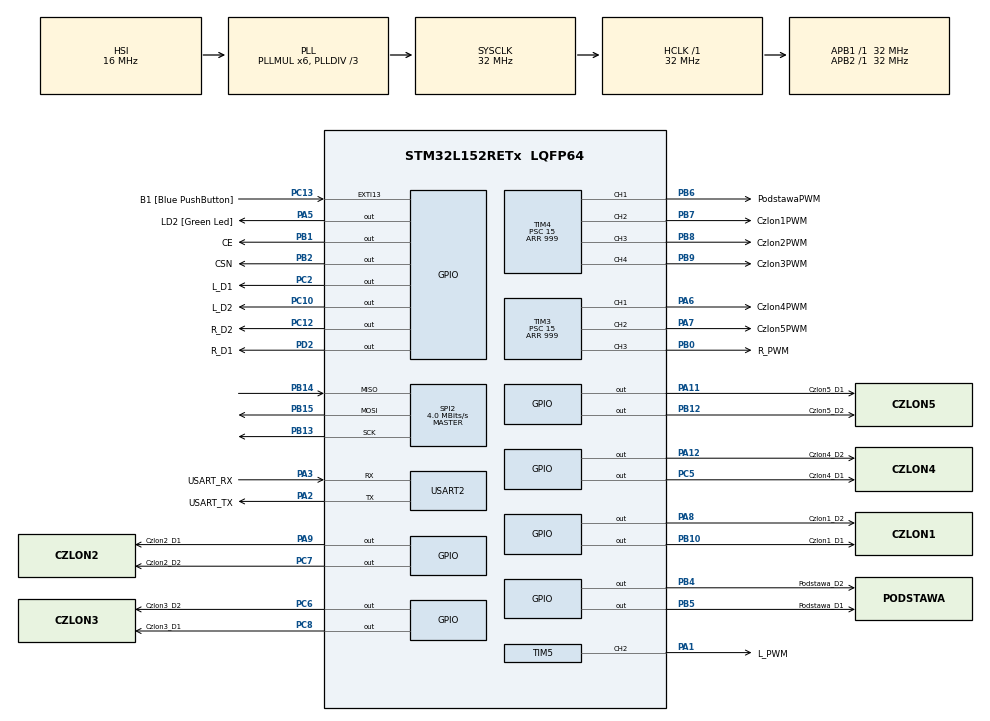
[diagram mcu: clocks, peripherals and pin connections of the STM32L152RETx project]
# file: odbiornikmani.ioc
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Mcu.Family=STM32L1
Mcu.Name=STM32L152RETx
Mcu.Package=LQFP64
NVIC.PriorityGroup=NVIC_PRIORITYGROUP_0
PA1.GPIO_Label=L_PWM
PA1.Signal=S_TIM5_CH2
PA11.GPIO_Label=Czlon5_D1
PA11.Signal=GPIO_Output
PA12.GPIO_Label=Czlon4_D2
PA12.Signal=GPIO_Output
PA13.GPIO_Label=TMS
PA13.Mode=Serial_Wire
PA13.Signal=SYS_JTMS-SWDIO
PA14.GPIO_Label=TCK
PA14.Mode=Serial_Wire
PA14.Signal=SYS_JTCK-SWCLK
PA2.GPIO_Label=USART_TX
PA2.Mode=Asynchronous
PA2.Signal=USART2_TX
PA3.GPIO_Label=USART_RX
PA3.Mode=Asynchronous
PA3.Signal=USART2_RX
PA5.GPIO_Label=LD2 [Green Led]
PA5.Signal=GPIO_Output
PA6.GPIO_Label=Czlon4PWM
PA6.Signal=S_TIM3_CH1
PA7.GPIO_Label=Czlon5PWM
PA7.Signal=S_TIM3_CH2
PA8.GPIO_Label=Czlon1_D2
PA8.Signal=GPIO_Output
PA9.GPIO_Label=Czlon2_D1
PA9.Signal=GPIO_Output
PB0.GPIO_Label=R_PWM
PB0.Signal=S_TIM3_CH3
PB1.GPIO_Label=CE
PB1.Signal=GPIO_Output
PB10.GPIO_Label=Czlon1_D1
PB10.Signal=GPIO_Output
PB12.GPIO_Label=Czlon5_D2
PB12.Signal=GPIO_Output
PB13.Mode=Full_Duplex_Master
PB13.Signal=SPI2_SCK
PB14.Mode=Full_Duplex_Master
PB14.Signal=SPI2_MISO
PB15.Mode=Full_Duplex_Master
PB15.Signal=SPI2_MOSI
PB2.GPIO_Label=CSN
PB2.Signal=GPIO_Output
PB3.GPIO_Label=SWO
PB3.Signal=SYS_JTDO-TRACESWO
PB4.GPIO_Label=Podstawa_D2
PB4.Signal=GPIO_Output
PB5.GPIO_Label=Podstawa_D1
PB5.Signal=GPIO_Output
PB6.GPIO_Label=PodstawaPWM
PB6.Signal=S_TIM4_CH1
PB7.GPIO_Label=Czlon1PWM
PB7.Signal=S_TIM4_CH2
PB8.GPIO_Label=Czlon2PWM
PB8.Signal=S_TIM4_CH3
PB9.GPIO_Label=Czlon3PWM
PB9.Signal=S_TIM4_CH4
PC10.GPIO_Label=L_D2
PC10.Signal=GPIO_Output
PC12.GPIO_Label=R_D2
PC12.Signal=GPIO_Output
PC13-WKUP2.GPIO_Label=B1 [Blue PushButton]
PC13-WKUP2.Signal=GPXTI13
PC14-OSC32_IN.Mode=LSE-External-Oscillator
PC14-OSC32_IN.Signal=RCC_OSC32_IN
PC15-OSC32_OUT.Mode=LSE-External-Oscillator
PC15-OSC32_OUT.Signal=RCC_OSC32_OUT
PC2.GPIO_Label=L_D1
PC2.Signal=GPIO_Output
PC5.GPIO_Label=Czlon4_D1
PC5.Signal=GPIO_Output
PC6.GPIO_Label=Czlon3_D2
PC6.Signal=GPIO_Output
PC7.GPIO_Label=Czlon2_D2
PC7.Signal=GPIO_Output
PC8.GPIO_Label=Czlon3_D1
PC8.Signal=GPIO_Output
PD2.GPIO_Label=R_D1
PD2.Signal=GPIO_Output
PH0-OSC_IN.Mode=HSE-External-Clock-Source
PH0-OSC_IN.Signal=RCC_OSC_IN
PH1-OSC_OUT.Signal=RCC_OSC_OUT
ProjectManager.HeapSize=0x200
ProjectManager.StackSize=0x400
ProjectManager.TargetToolchain=STM32CubeIDE
RCC.48MHZClocksFreq_Value=48000000
RCC.AHBFreq_Value=32000000
RCC.APB1Freq_Value=32000000
RCC.APB1TimFreq_Value=32000000
RCC.APB2Freq_Value=32000000
RCC.APB2TimFreq_Value=32000000
RCC.HCLKFreq_Value=32000000
RCC.HSE_VALUE=8000000
RCC.HSI_VALUE=16000000
RCC.MSI_VALUE=2097000
RCC.PLLDIV=RCC_PLL_DIV3
RCC.PLLMUL=RCC_PLL_MUL6
RCC.RTCClockSelectionVirtual=RCC_RTCCLKSOURCE_LSE
RCC.SYSCLKFreq_VALUE=32000000
RCC.SYSCLKSource=RCC_SYSCLKSOURCE_PLLCLK
RCC.USBOutput=48000000
RCC.VCOOutputFreq_Value=96000000
SH.S_TIM3_CH1.0=TIM3_CH1,PWM Generation1 CH1
SH.S_TIM3_CH2.0=TIM3_CH2,PWM Generation2 CH2
SH.S_TIM3_CH3.0=TIM3_CH3,PWM Generation3 CH3
SH.S_TIM4_CH1.0=TIM4_CH1,PWM Generation1 CH1
SH.S_TIM4_CH2.0=TIM4_CH2,PWM Generation2 CH2
SH.S_TIM4_CH3.0=TIM4_CH3,PWM Generation3 CH3
SH.S_TIM4_CH4.0=TIM4_CH4,PWM Generation4 CH4
SH.S_TIM5_CH2.0=TIM5_CH2,PWM Generation2 CH2
SPI2.BaudRatePrescaler=SPI_BAUDRATEPRESCALER_8
SPI2.CalculateBaudRate=4.0 MBits/s
SPI2.Direction=SPI_DIRECTION_2LINES
SPI2.Mode=SPI_MODE_MASTER
SPI2.VirtualType=VM_MASTER
TIM3.Channel-PWM\ Generation1\ CH1=TIM_CHANNEL_1
TIM3.Channel-PWM\ Generation2\ CH2=TIM_CHANNEL_2
TIM3.Channel-PWM\ Generation3\ CH3=TIM_CHANNEL_3
TIM3.OCPolarity_3=TIM_OCPOLARITY_HIGH
TIM3.Period=999
TIM3.Prescaler=15
TIM4.Channel-PWM\ Generation1\ CH1=TIM_CHANNEL_1
TIM4.Channel-PWM\ Generation2\ CH2=TIM_CHANNEL_2
TIM4.Channel-PWM\ Generation3\ CH3=TIM_CHANNEL_3
TIM4.Channel-PWM\ Generation4\ CH4=TIM_CHANNEL_4
TIM4.OC3Preload_PWM=ENABLE
TIM4.Period=999
TIM4.Prescaler=15
TIM5.Channel-PWM\ Generation2\ CH2=TIM_CHANNEL_2
TIM5.Period=999
TIM5.Prescaler=15
USART2.VirtualMode=VM_ASYNC
VP_TIM4_VS_ClockSourceINT.Mode=Internal
VP_TIM5_VS_ClockSourceINT.Mode=Internal
board=NUCLEO-L152RE

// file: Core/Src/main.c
/* USER CODE BEGIN Header */
/**
  ******************************************************************************
  * @file           : main.c
  * @brief          : Main program body
  ******************************************************************************
  * @attention
  *
  * Copyright (c) 2023 STMicroelectronics.
  * All rights reserved.
  *
  * This software is licensed under terms that can be found in the LICENSE file
  * in the root directory of this software component.
  * If no LICENSE file comes with this software, it is provided AS-IS.
  *
  ******************************************************************************
  */
/* USER CODE END Header */
#include "main.h"
#include "spi.h"
#include "tim.h"
#include "usart.h"
#include "gpio.h"

/* USER CODE BEGIN Includes */
#include "nRF24_Defs.h"
#include "nRF24.h"
#include "string.h"
/* USER CODE END Includes */

/* USER CODE BEGIN PV */
uint8_t nrfdata[6];
uint16_t lpwm = 0;
uint16_t rpwm = 0;
uint16_t pwm1 = 0;
uint16_t pwm2 = 0;
uint16_t steringpwm = 0;
uint16_t lowvalue = 450;
uint16_t higvalue = 550;
uint32_t time;
uint32_t timereset;
/* USER CODE END PV */

void SystemClock_Config(void);

int main(void)
{

  /* MCU Configuration--------------------------------------------------------*/

  /* Reset of all peripherals, Initializes the Flash interface and the Systick. */
  HAL_Init();

  /* USER CODE BEGIN Init */
  void triggercontrol();
  void PWMval(uint8_t ch, uint16_t val);
  void joytrigcontrol();
  void joystickcontrol();
  /* USER CODE END Init */

  /* Configure the system clock */
  SystemClock_Config();

  /* Initialize all configured peripherals */
  MX_GPIO_Init();
  MX_USART2_UART_Init();
  MX_SPI2_Init();
  MX_TIM3_Init();
  MX_TIM4_Init();
  MX_TIM5_Init();
  /* USER CODE BEGIN 2 */

  //nRF initialize and settings

  nRF24_Init(&hspi1);
  nRF24_SetRXAddress(0, "Odb");
  nRF24_SetTXAddress("Nad");
  nRF24_RX_Mode();

  //Set timer 2 to PWM function

  HAL_TIM_PWM_Start(&htim2, TIM_CHANNEL_2);
  HAL_TIM_PWM_Start(&htim2, TIM_CHANNEL_3);
  time = HAL_GetTick();
  timereset = HAL_GetTick();

  /* USER CODE END 2 */

  /* Infinite loop */
  /* USER CODE BEGIN WHILE */
  while (1)
  {

	  //Check if there is receive message

	  if(nRF24_RXAvailible())
	  	  	  {
		  	  //if working blink diode once per second
		  	  	 if (HAL_GetTick()-time >1000)
		  	  	 {
		  	  		HAL_GPIO_TogglePin(LED1_GPIO_Port, LED1_Pin);
		  	  		time = HAL_GetTick();
		  	  	 }
		  	  	 //read received data and save to nrfdata variable
	  	  		 nRF24_ReadRXPaylaod(nrfdata);
	  	  		 timereset = HAL_GetTick();
	  	  	  }
	  //if there is no signal restart nRF24 and stop motor
	  if(HAL_GetTick()-timereset > 1000)
	  {
		  nRF24_Init(&hspi1);
		  nRF24_SetRXAddress(0, "Odb");
		  nRF24_SetTXAddress("Nad");
		  nRF24_RX_Mode();
		  HAL_GPIO_WritePin(DIR_ML1_GPIO_Port, DIR_ML1_Pin, GPIO_PIN_RESET);
		  HAL_GPIO_WritePin(DIR_MR1_GPIO_Port, DIR_MR1_Pin, GPIO_PIN_RESET);
		  PWMval(1, 0);
		  PWMval(2, 0);

	  }
	  	  /*
	  if(nRF24_RXAvailible())
	  	  {
	  		  nRF24_ReadRXPaylaod(Nrf24_Message);
	  		  HAL_GPIO_TogglePin(LED1_GPIO_Port, LED1_Pin);
	  		  //MessageLength = sprintf(Message, "%c\n\r", Nrf24_Message[0]);
	  		  //HAL_UART_Transmit(&huart2, Message, MessageLength, 1000);
	  	  }
	  	  */
    /* USER CODE END WHILE */

  }
}

void SystemClock_Config(void)
{
  RCC_OscInitTypeDef RCC_OscInitStruct = {0};
  RCC_ClkInitTypeDef RCC_ClkInitStruct = {0};

  /** Configure the main internal regulator output voltage
  */
  __HAL_PWR_VOLTAGESCALING_CONFIG(PWR_REGULATOR_VOLTAGE_SCALE1);

  /** Initializes the RCC Oscillators according to the specified parameters
  * in the RCC_OscInitTypeDef structure.
  */
  RCC_OscInitStruct.OscillatorType = RCC_OSCILLATORTYPE_HSI;
  RCC_OscInitStruct.HSIState = RCC_HSI_ON;
  RCC_OscInitStruct.HSICalibrationValue = RCC_HSICALIBRATION_DEFAULT;
  RCC_OscInitStruct.PLL.PLLState = RCC_PLL_ON;
  RCC_OscInitStruct.PLL.PLLSource = RCC_PLLSOURCE_HSI;
  RCC_OscInitStruct.PLL.PLLMUL = RCC_PLL_MUL6;
  RCC_OscInitStruct.PLL.PLLDIV = RCC_PLL_DIV3;
  if (HAL_RCC_OscConfig(&RCC_OscInitStruct) != HAL_OK)
  {
    Error_Handler();
  }

  /** Initializes the CPU, AHB and APB buses clocks
  */
  RCC_ClkInitStruct.ClockType = RCC_CLOCKTYPE_HCLK|RCC_CLOCKTYPE_SYSCLK
                              |RCC_CLOCKTYPE_PCLK1|RCC_CLOCKTYPE_PCLK2;
  RCC_ClkInitStruct.SYSCLKSource = RCC_SYSCLKSOURCE_PLLCLK;
  RCC_ClkInitStruct.AHBCLKDivider = RCC_SYSCLK_DIV1;
  RCC_ClkInitStruct.APB1CLKDivider = RCC_HCLK_DIV1;
  RCC_ClkInitStruct.APB2CLKDivider = RCC_HCLK_DIV1;

  if (HAL_RCC_ClockConfig(&RCC_ClkInitStruct, FLASH_LATENCY_1) != HAL_OK)
  {
    Error_Handler();
  }
}

/* USER CODE BEGIN 4 */

uint16_t map(uint16_t input_value, uint16_t minRange, uint16_t maxRange, uint16_t New_minRange, uint16_t New_maxRange)
{
	return (((input_value - minRange)*(New_maxRange - New_minRange))/(maxRange - minRange) + New_minRange);
}
void PWMval(uint8_t ch, uint16_t val)
{
	switch (ch)
	{
	case 1:
	__HAL_TIM_SET_COMPARE(&htim2, TIM_CHANNEL_2, val);
	break;
	case 2:
	__HAL_TIM_SET_COMPARE(&htim2, TIM_CHANNEL_3, val);
	break;
	}
}
void triggercontrol()
{

	lpwm = map(nrfdata[3],32,127,0,1000);
	rpwm = map(nrfdata[4],32,127,0,1000);
	HAL_GPIO_WritePin(DIR_ML2_GPIO_Port, DIR_ML2_Pin, GPIO_PIN_RESET);
	HAL_GPIO_WritePin(DIR_MR2_GPIO_Port, DIR_MR2_Pin, GPIO_PIN_RESET);
	HAL_GPIO_WritePin(DIR_ML1_GPIO_Port, DIR_ML1_Pin, GPIO_PIN_SET);
	HAL_GPIO_WritePin(DIR_MR1_GPIO_Port, DIR_MR1_Pin, GPIO_PIN_SET);
	PWMval(1, lpwm);
	PWMval(2, rpwm);
}
void joytrigcontrol()
{
	int power;
	int irpwm;
	int ilpwm;
	pwm1 = map(nrfdata[3],32,127,0,1000);
	pwm2 = map(nrfdata[4],32,127,0,1000);
	HAL_GPIO_WritePin(DIR_ML2_GPIO_Port, DIR_ML2_Pin, GPIO_PIN_RESET);
	HAL_GPIO_WritePin(DIR_MR2_GPIO_Port, DIR_MR2_Pin, GPIO_PIN_RESET);
	HAL_GPIO_WritePin(DIR_ML1_GPIO_Port, DIR_ML1_Pin, GPIO_PIN_SET);
	HAL_GPIO_WritePin(DIR_MR1_GPIO_Port, DIR_MR1_Pin, GPIO_PIN_SET);
	steringpwm = map(nrfdata[1],32,127,0,1000);
	power = pwm2 - pwm1;
	if (power < 0)
		{
			HAL_GPIO_WritePin(DIR_ML1_GPIO_Port, DIR_ML1_Pin, GPIO_PIN_RESET);
			HAL_GPIO_WritePin(DIR_MR1_GPIO_Port, DIR_MR1_Pin, GPIO_PIN_RESET);
			HAL_GPIO_WritePin(DIR_ML2_GPIO_Port, DIR_ML2_Pin, GPIO_PIN_SET);
			HAL_GPIO_WritePin(DIR_MR2_GPIO_Port, DIR_MR2_Pin, GPIO_PIN_SET);
			power = power * (-1);
		}
	if(steringpwm < lowvalue)
		{
			lpwm = power;
			irpwm = power - (1000-map(steringpwm,0,lowvalue,0,1000));
			if (irpwm < 0)
			{
				rpwm = 0;
			}
			else
			{
				rpwm = irpwm;
			}
		}
	else if(steringpwm > higvalue)
		{
			ilpwm = power - map(steringpwm,higvalue,1000,0,1000);
			rpwm = power;
			if (ilpwm < 0)
			{
				lpwm = 0;
			}
			else
			{
				lpwm = ilpwm;
			}
		}
	else
		{
			rpwm = power;
			lpwm = power;
		}
	PWMval(1, rpwm);
	PWMval(2, lpwm);
}

void joystickcontrol()
{
	lpwm = map(nrfdata[1],32,127,0,1000);
	rpwm = map(nrfdata[2],32,127,0,1000);
	if(lowvalue <= lpwm && lpwm <= higvalue && lowvalue <= rpwm && rpwm <= higvalue)
	{
		HAL_GPIO_WritePin(DIR_ML2_GPIO_Port, DIR_ML2_Pin, GPIO_PIN_RESET);
		HAL_GPIO_WritePin(DIR_MR2_GPIO_Port, DIR_MR2_Pin, GPIO_PIN_RESET);
		HAL_GPIO_WritePin(DIR_ML1_GPIO_Port, DIR_ML1_Pin, GPIO_PIN_RESET);
		HAL_GPIO_WritePin(DIR_MR1_GPIO_Port, DIR_MR1_Pin, GPIO_PIN_RESET);
		HAL_Delay(10);
		PWMval(1, 0);
		PWMval(2, 0);
	}
	else
	{
		if (rpwm < lowvalue)
		{
			if(lpwm < lowvalue)
			{
				rpwm =1000- map(rpwm,0,lowvalue,0,1000);
				lpwm = rpwm + 1000-map(lpwm,0,lowvalue,0,1000);
				HAL_GPIO_WritePin(DIR_ML2_GPIO_Port, DIR_ML2_Pin, GPIO_PIN_RESET);
				HAL_GPIO_WritePin(DIR_MR2_GPIO_Port, DIR_MR2_Pin, GPIO_PIN_RESET);
				HAL_GPIO_WritePin(DIR_ML1_GPIO_Port, DIR_ML1_Pin, GPIO_PIN_SET);
				HAL_GPIO_WritePin(DIR_MR1_GPIO_Port, DIR_MR1_Pin, GPIO_PIN_SET);
				HAL_Delay(10);
				PWMval(1, rpwm);
				PWMval(2, lpwm);
			}
			else if(lpwm >higvalue)
			{
				lpwm = 1000-map(lpwm,higvalue,1000,0,1000);
				rpwm = 1000-map(rpwm,0,lowvalue,0,1000)+ lpwm;
				HAL_GPIO_WritePin(DIR_ML2_GPIO_Port, DIR_ML2_Pin, GPIO_PIN_RESET);
				HAL_GPIO_WritePin(DIR_MR2_GPIO_Port, DIR_MR2_Pin, GPIO_PIN_RESET);
				HAL_GPIO_WritePin(DIR_ML1_GPIO_Port, DIR_ML1_Pin, GPIO_PIN_SET);
				HAL_GPIO_WritePin(DIR_MR1_GPIO_Port, DIR_MR1_Pin, GPIO_PIN_SET);
				HAL_Delay(10);
				PWMval(1, rpwm);
				PWMval(2, lpwm);

			}
			else if(lpwm >= lowvalue && lpwm <= higvalue)
			{
				rpwm = 1000- map(rpwm,0,lowvalue,0,1000);
				HAL_GPIO_WritePin(DIR_ML2_GPIO_Port, DIR_ML2_Pin, GPIO_PIN_RESET);
				HAL_GPIO_WritePin(DIR_MR2_GPIO_Port, DIR_MR2_Pin, GPIO_PIN_RESET);
				HAL_GPIO_WritePin(DIR_ML1_GPIO_Port, DIR_ML1_Pin, GPIO_PIN_SET);
				HAL_GPIO_WritePin(DIR_MR1_GPIO_Port, DIR_MR1_Pin, GPIO_PIN_SET);
				HAL_Delay(10);
				PWMval(1, rpwm);
				PWMval(2, rpwm);

			}

		}
		else if (rpwm > higvalue)
		{
			if(lpwm < lowvalue)
			{
				rpwm = map(rpwm,higvalue,1000,0,1000);
				lpwm = 1000-map(lpwm,0,lowvalue,0,1000)+rpwm;
				HAL_GPIO_WritePin(DIR_ML1_GPIO_Port, DIR_ML1_Pin, GPIO_PIN_RESET);
				HAL_GPIO_WritePin(DIR_MR1_GPIO_Port, DIR_MR1_Pin, GPIO_PIN_RESET);
				HAL_GPIO_WritePin(DIR_ML2_GPIO_Port, DIR_ML2_Pin, GPIO_PIN_SET);
				HAL_GPIO_WritePin(DIR_MR2_GPIO_Port, DIR_MR2_Pin, GPIO_PIN_SET);
				HAL_Delay(10);
				PWMval(1, lpwm);
				PWMval(2, rpwm);

			}
			else if(lpwm > higvalue)
			{
				rpwm = map(rpwm,higvalue,1000,0,1000);
				lpwm = map(lpwm,0,higvalue,0,1000)+rpwm;
				HAL_GPIO_WritePin(DIR_ML1_GPIO_Port, DIR_ML1_Pin, GPIO_PIN_RESET);
				HAL_GPIO_WritePin(DIR_MR1_GPIO_Port, DIR_MR1_Pin, GPIO_PIN_RESET);
				HAL_GPIO_WritePin(DIR_ML2_GPIO_Port, DIR_ML2_Pin, GPIO_PIN_SET);
				HAL_GPIO_WritePin(DIR_MR2_GPIO_Port, DIR_MR2_Pin, GPIO_PIN_SET);
				HAL_Delay(10);
				PWMval(1, rpwm);
				PWMval(2, lpwm);
			}
			else if(lpwm >= lowvalue && lpwm <= higvalue)
			{
				rpwm = map(rpwm,higvalue,1000,0,1000);
				HAL_GPIO_WritePin(DIR_ML1_GPIO_Port, DIR_ML1_Pin, GPIO_PIN_RESET);
				HAL_GPIO_WritePin(DIR_MR1_GPIO_Port, DIR_MR1_Pin, GPIO_PIN_RESET);
				HAL_GPIO_WritePin(DIR_ML2_GPIO_Port, DIR_ML2_Pin, GPIO_PIN_SET);
				HAL_GPIO_WritePin(DIR_MR2_GPIO_Port, DIR_MR2_Pin, GPIO_PIN_SET);
				HAL_Delay(10);
				PWMval(1, rpwm);
				PWMval(2, rpwm);

			}

		}
		else if (rpwm <= higvalue && rpwm >= lowvalue)
		{
			if (lpwm > higvalue)
			{
				HAL_GPIO_WritePin(DIR_ML1_GPIO_Port, DIR_ML1_Pin, GPIO_PIN_RESET);
				HAL_GPIO_WritePin(DIR_MR2_GPIO_Port, DIR_MR2_Pin, GPIO_PIN_RESET);
				HAL_GPIO_WritePin(DIR_MR1_GPIO_Port, DIR_MR1_Pin, GPIO_PIN_SET);
				HAL_GPIO_WritePin(DIR_ML2_GPIO_Port, DIR_ML2_Pin, GPIO_PIN_SET);
				HAL_Delay(10);
				PWMval(1,0);
				PWMval(2,900);

			}
			if(lpwm < lowvalue)
			{
				HAL_GPIO_WritePin(DIR_ML1_GPIO_Port, DIR_ML1_Pin, GPIO_PIN_RESET);
				HAL_GPIO_WritePin(DIR_MR1_GPIO_Port, DIR_MR1_Pin, GPIO_PIN_RESET);
				HAL_GPIO_WritePin(DIR_ML2_GPIO_Port, DIR_ML2_Pin, GPIO_PIN_SET);
				HAL_GPIO_WritePin(DIR_MR2_GPIO_Port, DIR_MR2_Pin, GPIO_PIN_SET);
				HAL_Delay(10);
				PWMval(1,900);
				PWMval(2,0);
			}

		}

	}
}

/* USER CODE END 4 */

void Error_Handler(void)
{
  __disable_irq();
  while (1)
  {
  }
}
